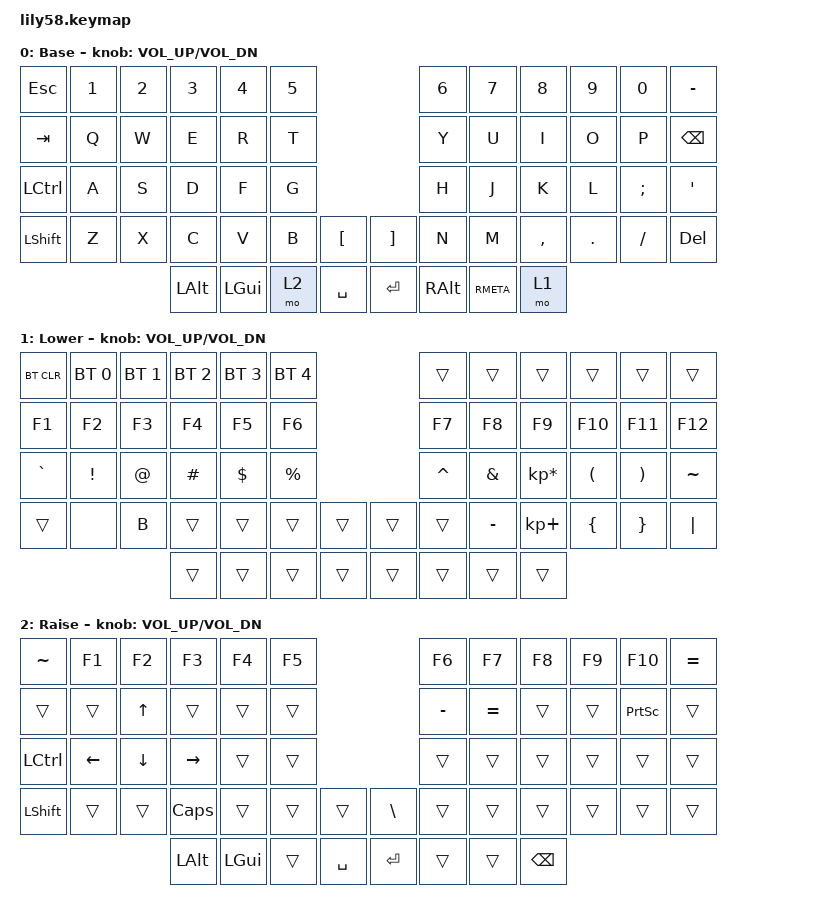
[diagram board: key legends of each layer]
/*
 * Copyright (c) 2020 The ZMK Contributors
 *
 * SPDX-License-Identifier: MIT
 */

#include <behaviors.dtsi>
#include <dt-bindings/zmk/bt.h>
#include <dt-bindings/zmk/keys.h>

/ {
    keymap {
        compatible = "zmk,keymap";

        default_layer {
            // ------------------------------------------------------------------------------------------------------------
            // |  ESC  |  1  |  2  |  3   |  4   |  5   |                   |  6   |  7    |  8    |  9   |   0   |   `   |
            // |  TAB  |  Q  |  W  |  E   |  R   |  T   |                   |  Y   |  U    |  I    |  O   |   P   |   -   |
            // |  CTRL |  A  |  S  |  D   |  F   |  G   |                   |  H   |  J    |  K    |  L   |   ;   |   '   |
            // | SHIFT |  Z  |  X  |  C   |  V   |  B   |   "["  |  |  "]"  |  N   |  M    |  ,    |  .   |   /   | SHIFT |
            //                     | ALT  | GUI  | LOWER|  SPACE |  | ENTER | RAISE| BSPC  | GUI   |

            display-name = "Base";
            bindings = <
&kp ESC    &kp N1  &kp N2  &kp N3    &kp N4    &kp N5                         &kp N6         &kp N7     &kp N8     &kp N9   &kp N0    &kp MINUS
&kp TAB    &kp Q   &kp W   &kp E     &kp R     &kp T                          &kp Y          &kp U      &kp I      &kp O    &kp P     &kp BACKSPACE
&kp LCTRL  &kp A   &kp S   &kp D     &kp F     &kp G                          &kp H          &kp J      &kp K      &kp L    &kp SEMI  &kp SQT
&kp LSHFT  &kp Z   &kp X   &kp C     &kp V     &kp B   &kp LBKT     &kp RBKT  &kp N          &kp M      &kp COMMA  &kp DOT  &kp FSLH  &kp DEL
                           &kp LALT  &kp LGUI  &mo 2   &kp SPACE    &kp RET   &kp RIGHT_ALT  &kp RMETA  &mo 1
            >;

            sensor-bindings = <&inc_dec_kp C_VOL_UP C_VOL_DN>;
        };

        lower_layer {
            // ------------------------------------------------------------------------------------------------------------
            // | BTCLR | BT1 | BT2 |  BT3 |  BT4 |  BT5 |                   |      |       |       |      |       |       |
            // |  F1   |  F2 |  F3 |  F4  |  F5  |  F6  |                   |  F7  |  F8   |  F9   |  F10 |  F11  |  F12  |
            // |   `   |  !  |  @  |  #   |  $   |  %   |                   |  ^   |  &    |  *    |  (   |   )   |   ~   |
            // |       |     |     |      |      |      |        |  |       |      |  _    |  +    |  {   |   }   |  "|"  |
            //                     |      |      |      |        |  |       |      |       |       |

            display-name = "Lower";
            bindings = <
&bt BT_CLR  &bt BT_SEL 0  &bt BT_SEL 1  &bt BT_SEL 2  &bt BT_SEL 3  &bt BT_SEL 4                    &trans     &trans     &trans           &trans    &trans    &trans
&kp F1      &kp F2        &kp F3        &kp F4        &kp F5        &kp F6                          &kp F7     &kp F8     &kp F9           &kp F10   &kp F11   &kp F12
&kp GRAVE   &kp EXCL      &kp AT        &kp HASH      &kp DOLLAR    &kp PRCNT                       &kp CARET  &kp AMPS   &kp KP_MULTIPLY  &kp LPAR  &kp RPAR  &kp TILDE
&trans      &none         &kp B         &trans        &trans        &trans        &trans    &trans  &trans     &kp MINUS  &kp KP_PLUS      &kp LBRC  &kp RBRC  &kp PIPE
                                        &trans        &trans        &trans        &trans    &trans  &trans     &trans     &trans
            >;

            sensor-bindings = <&inc_dec_kp C_VOL_UP C_VOL_DN>;
        };

        raise_layer {
            // ------------------------------------------------------------------------------------------------------------
            // |       |     |     |      |      |      |                   |      |       |       |      |       |       |
            // |   `   |  1  |  2  |  3   |  4   |  5   |                   |  6   |   7   |   8   |  9   |   0   |       |
            // |   F1  |  F2 |  F3 |  F4  |  F5  |  F6  |                   |      |   <-  |   v   |  ^   |  ->   |       |
            // |   F7  |  F8 |  F9 |  F10 |  F11 |  F12 |        |  |       |  +   |   -   |   =   |  [   |   ]   |   \   |
            //                     |      |      |      |        |  |       |      |       |       |

            display-name = "Raise";
            bindings = <
&kp TILDE         &kp F1          &kp F2          &kp F3        &kp F4        &kp F5                              &kp F6     &kp F7     &kp F8         &kp F9  &kp F10          &kp EQUAL
&trans            &trans          &kp UP_ARROW    &trans        &trans        &trans                              &kp MINUS  &kp EQUAL  &trans         &trans  &kp PRINTSCREEN  &trans
&kp LEFT_CONTROL  &kp LEFT_ARROW  &kp DOWN_ARROW  &kp RIGHT     &trans        &trans                              &trans     &trans     &trans         &trans  &trans           &trans
&kp LEFT_SHIFT    &trans          &trans          &kp CAPSLOCK  &trans        &trans  &trans       &kp BACKSLASH  &trans     &trans     &trans         &trans  &trans           &trans
                                                  &kp LEFT_ALT  &kp LEFT_GUI  &trans  &kp SPACE    &kp ENTER      &trans     &trans     &kp BACKSPACE
            >;

            sensor-bindings = <&inc_dec_kp C_VOL_UP C_VOL_DN>;
        };
    };
};
